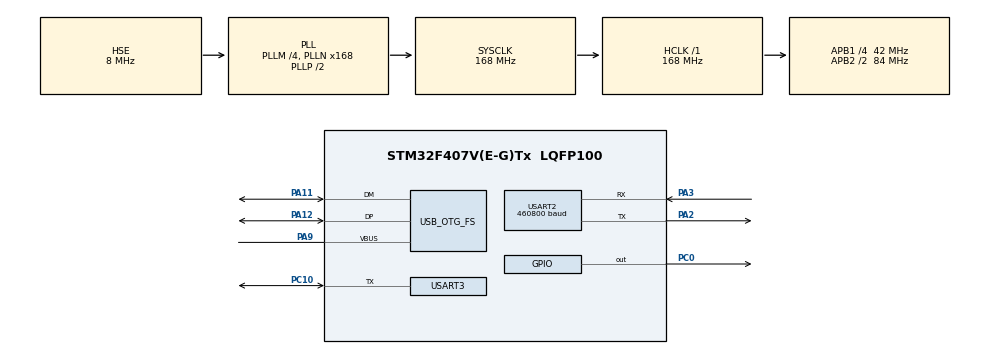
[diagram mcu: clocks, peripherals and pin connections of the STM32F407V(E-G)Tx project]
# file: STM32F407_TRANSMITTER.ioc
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Mcu.Family=STM32F4
Mcu.Name=STM32F407V(E-G)Tx
Mcu.Package=LQFP100
NVIC.OTG_FS_IRQn=true\:0\:0\:false\:false\:true\:false\:true\:true
NVIC.PriorityGroup=NVIC_PRIORITYGROUP_4
NVIC.USART3_IRQn=true\:0\:0\:false\:false\:true\:true\:true\:true
PA11.Mode=Host_Only
PA11.Signal=USB_OTG_FS_DM
PA12.Mode=Host_Only
PA12.Signal=USB_OTG_FS_DP
PA2.Mode=Asynchronous
PA2.Signal=USART2_TX
PA3.Mode=Asynchronous
PA3.Signal=USART2_RX
PA9.Mode=Activate_VBUS
PA9.Signal=USB_OTG_FS_VBUS
PC0.Signal=GPIO_Output
PC10.GPIO_ModeDefaultOD=GPIO_MODE_AF_OD
PC10.GPIO_PuPd=GPIO_NOPULL
PC10.Mode=Half_duplex(single_wire_mode)
PC10.Signal=USART3_TX
PC11.Signal=USART3_RX
PH0-OSC_IN.Mode=HSE-External-Oscillator
PH0-OSC_IN.Signal=RCC_OSC_IN
PH1-OSC_OUT.Mode=HSE-External-Oscillator
PH1-OSC_OUT.Signal=RCC_OSC_OUT
ProjectManager.HeapSize=0x200
ProjectManager.StackSize=0x400
ProjectManager.TargetToolchain=STM32CubeIDE
RCC.48MHZClocksFreq_Value=48000000
RCC.AHBFreq_Value=168000000
RCC.APB1CLKDivider=RCC_HCLK_DIV4
RCC.APB1Freq_Value=42000000
RCC.APB1TimFreq_Value=84000000
RCC.APB2CLKDivider=RCC_HCLK_DIV2
RCC.APB2Freq_Value=84000000
RCC.APB2TimFreq_Value=168000000
RCC.CortexFreq_Value=168000000
RCC.HCLKFreq_Value=168000000
RCC.HSE_VALUE=8000000
RCC.HSI_VALUE=16000000
RCC.LSE_VALUE=32768
RCC.PLLM=4
RCC.PLLN=168
RCC.PLLQ=7
RCC.SYSCLKFreq_VALUE=168000000
RCC.SYSCLKSource=RCC_SYSCLKSOURCE_PLLCLK
RCC.VCOOutputFreq_Value=336000000
USART2.BaudRate=460800
USART2.Mode=MODE_TX_RX
USART2.VirtualMode=VM_ASYNC
USART3.BaudRate=420000
USART3.Mode=MODE_TX_RX
USART3.VirtualMode=VM_ASYNC
USB_HOST.BSP.number=1
USB_HOST.USBH_HandleTypeDef-HID_FS=hUsbHostFS
USB_HOST.VirtualModeFS=Hid
USB_HOST0.BSP.STBoard=false
USB_HOST0.BSP.api=Unknown
USB_HOST0.BSP.condition=SW_VBUS_DRIVE_HID_FS \= false
USB_HOST0.BSP.instance=PC0
USB_HOST0.BSP.ip=GPIO
USB_HOST0.BSP.mode=Output
USB_HOST0.BSP.name=Drive_VBUS_FS
USB_HOST0.BSP.solution=PC0
USB_OTG_FS.VirtualMode=Host_Only
USB_OTG_FS.phy_itface=HCD_PHY_EMBEDDED
VP_USB_HOST_VS_USB_HOST_HID_FS.Mode=HID_FS
board=custom

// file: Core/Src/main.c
/* USER CODE BEGIN Header */
/**
  ******************************************************************************
  * @file           : main.c
  * @brief          : Main program body
  ******************************************************************************
  * @attention
  *
  * Copyright (c) 2026 STMicroelectronics.
  * All rights reserved.
  *
  * This software is licensed under terms that can be found in the LICENSE file
  * in the root directory of this software component.
  * If no LICENSE file comes with this software, it is provided AS-IS.
  *
  ******************************************************************************
  */
/* USER CODE END Header */
#include "main.h"
#include "usart.h"
#include "usb_host.h"
#include "gpio.h"

/* USER CODE BEGIN Includes */
#include "uart_ring.h"  // Ring buffer API: UART_Ring_Init(), UART_Ring_GetByte()
#include "crsf.h"
#include "usbh_hid.h"
#include "usbh_hid_joystick.h"

#include <stdio.h>  // snprintf

/* USER CODE END Includes */

/* USER CODE BEGIN PD */
// Sendezyklus für RC-Frames: 4 ms
#define CRSF_RC_PERIOD_MS   (4U)
// 1-Hz Debugausgabe
#define STATUS_PERIOD_MS    (1000U)

/* USER CODE END PD */

/* USER CODE BEGIN PV */
static CRSF_Parser_t gCrsf;      // Parser-Instanz

// Global buffer for processed joystick data
volatile JoystickData_t g_joystickData;

/* USER CODE END PV */

void SystemClock_Config(void);
void MX_USB_HOST_Process(void);

/* USER CODE BEGIN 0 */
static inline uint32_t app_millis(void) { return HAL_GetTick(); }

void USBH_HID_EventCallback(USBH_HandleTypeDef *phost) {
    HID_HandleTypeDef *HID_Handle = (HID_HandleTypeDef *)phost->pActiveClass->pData;
    uint8_t *current = HID_Handle->pData;

    // Only process new reports (compare first 8 bytes)
    static uint8_t last_report[JOYSTICK_REPORT_EFFECTIVE_SIZE];

    if (memcmp(current, last_report, JOYSTICK_REPORT_EFFECTIVE_SIZE) != 0) {
        memcpy(last_report, current, JOYSTICK_REPORT_EFFECTIVE_SIZE);

        JoystickData_t data = USBH_HID_GetJoystickData(current);

        // Atomically update the global buffer
        __disable_irq();
        g_joystickData = data;
        __enable_irq();
    }
}

static inline uint16_t axis16_to_us(uint16_t raw)
{
  int32_t v = (int32_t)raw - 32768;         // signed Offset um Center
  // Skaliere auf ±500µs um 1500 µs (linear, integer)
  int32_t us = 1500 + (v * 1000) / 65535;   // ≈ 1500 ±500
  if (us < 1000) us = 1000;
  if (us > 2000) us = 2000;
  return (uint16_t)us;
}

/* USER CODE END 0 */

int main(void)
{

  /* USER CODE BEGIN 1 */
	uint8_t b;

	uint8_t  ls_seen_flag = 0;

  /* USER CODE END 1 */

  /* MCU Configuration--------------------------------------------------------*/

  /* Reset of all peripherals, Initializes the Flash interface and the Systick. */
  HAL_Init();

  /* Configure the system clock */
  SystemClock_Config();

  /* Initialize all configured peripherals */
  MX_GPIO_Init();
  MX_USART2_UART_Init();
  MX_USART3_UART_Init();
  MX_USB_HOST_Init();
  /* USER CODE BEGIN 2 */
  HAL_GPIO_WritePin(GPIOC, GPIO_PIN_0, GPIO_PIN_RESET);

  // Ringbuffer für USART3 initialisieren & RX-Interrupt aktivieren
  UART_Ring_Init(&huart3);
  __HAL_UART_ENABLE_IT(&huart3, UART_IT_RXNE);  // RX interrupt aktivieren

  // CRSF-Parser initialisieren (Zeit-Callback für LinkIsAlive etc.)
  CRSF_ParserInit(&gCrsf, app_millis);

  // Start im RX-Betrieb (Halbduplex)
  HAL_HalfDuplex_EnableReceiver(&huart3);

  uint32_t lastFrame      = 0;    // für 250 Hz
  uint32_t last_ls_print  = 0;
  uint32_t last_gps_print = 0;

  // Arbeitsbuffer für TX
  uint8_t payload[22];
  uint8_t frame[32];

  /* USER CODE END 2 */

  /* Infinite loop */
  /* USER CODE BEGIN WHILE */
  while (1)
  {
	  uint32_t now = HAL_GetTick();

	  /* --- 1) RC-Frame alle 4 ms senden (250 Hz) ---------------------------- */
	  if (now - lastFrame >= CRSF_RC_PERIOD_MS) {
	      lastFrame = now;

	      // a) Joystick -> RC-us
	      JoystickData_t js;
	      __disable_irq();
	      js = g_joystickData;  // Atomare Kopie (ISR-sicher)
	      __enable_irq();

	      uint16_t rc_us[16];
	      rc_us[0] = axis16_to_us(js.x);  // CH1: X
	      rc_us[1] = axis16_to_us(js.y);  // CH2: Y
	      for (int i = 2; i < 16; i++) rc_us[i] = 1500;  // Platzhalter

	      // b) us -> CRSF-Ticks & 22-Byte-Payload packen
	      uint16_t ticks[16];
	      for (int i = 0; i < 16; i++) ticks[i] = CRSF_UsToTicks(rc_us[i]);
	      CRSF_PackChannels16x11(ticks, payload);

	      // c) Kompletten Frame bauen
	      uint16_t flen = CRSF_CreateFrame(frame, CRSF_FRAMETYPE_RC_CHANNELS_PACKED, payload, 22);

	      // c) Senden im Half-Duplex
	      HAL_HalfDuplex_EnableTransmitter(&huart3);
	      HAL_UART_Transmit(&huart3, frame, flen, 2);

	      // WICHTIG: Auf TC warten (inkl. Stop-Bit), erst dann auf RX schalten
	      while (__HAL_UART_GET_FLAG(&huart3, UART_FLAG_TC) == RESET) { /* warten */ }
	      HAL_HalfDuplex_EnableReceiver(&huart3);
	      // Ab hier sammelt die ISR (UART_Ring_IRQ_Handler) eingehende Bytes
	  }

	  /* --- 2) Eingehende Bytes -> Parser (Ringbuffer leeren) ---------------- */
	  while (UART_Ring_GetByte(&b)) {
		  uint8_t ftype;
		  if (CRSF_ParserFeed(&gCrsf, b, &ftype)) {
			  if (ftype == CRSF_FRAMETYPE_LINK_STATISTICS) {
				  ls_seen_flag = 1;   // Signal, dass neue Link-Stats angekommen sind
	          }
	      }
	  }

	  if (now - last_ls_print >= 1000U) {
		  last_ls_print = now;

		  if (ls_seen_flag) {
			  ls_seen_flag = 0;  // zurücksetzen, damit wir nur einmal pro Sekunde drucken

			  // Wir lesen die LQ direkt aus dem Parserzustand:
			  uint8_t up   = gCrsf.linkStats.up_LQ;
			  uint8_t dn   = gCrsf.linkStats.dn_LQ;
			  uint8_t pidx = gCrsf.linkStats.up_tx_power;

			  char line[80];
			  int n = snprintf(line, sizeof(line),
					  "Link Quality: up=%u%%, down=%u%%, up_tx_power(idx)=%u\r\n", up, dn, pidx);

			  if (n > 0) {
				  uint16_t len = (n < (int)sizeof(line)) ? (uint16_t)n : (uint16_t)(sizeof(line)-1);
				  HAL_UART_Transmit(&huart2, (uint8_t*)line, len, 20);
			  }
		  } else {
			  const char no[] = "No Link Statistics in last second\r\n";
			  HAL_UART_Transmit(&huart2, (uint8_t*)no, sizeof(no) - 1, 20);
		  }
	  }

	  if (now - last_gps_print >= 1000U) {
		  last_gps_print = now;

		  // Einfache Plausibilitätsprüfung:
		  if (gCrsf.gps.latitude != 0 || gCrsf.gps.longitude != 0) {
			  char line[128];
			  //int alt_m = (int)gCrsf.gps.altitude - 1000; // Offset -1000m zurückrechnen
			  int n = snprintf(line, sizeof(line),
			      "GPS RAW: lat=%ld lon=%ld gs=%u hdg=%u alt=%u sats=%u\r\n",
			      (long)gCrsf.gps.latitude,
			      (long)gCrsf.gps.longitude,
			      (unsigned)gCrsf.gps.groundspeed,
			      (unsigned)gCrsf.gps.heading,
			      (unsigned)gCrsf.gps.altitude,
			      (unsigned)gCrsf.gps.satellites
			  );

			  if (n > 0) {
				  uint16_t txlen = (n < (int)sizeof(line)) ? (uint16_t)n : (uint16_t)(sizeof(line)-1);
				  HAL_UART_Transmit(&huart2, (uint8_t*)line, txlen, 20);
			  }
		  }
	  }

    /* USER CODE END WHILE */
    MX_USB_HOST_Process();

  }
}

void SystemClock_Config(void)
{
  RCC_OscInitTypeDef RCC_OscInitStruct = {0};
  RCC_ClkInitTypeDef RCC_ClkInitStruct = {0};

  /** Configure the main internal regulator output voltage
  */
  __HAL_RCC_PWR_CLK_ENABLE();
  __HAL_PWR_VOLTAGESCALING_CONFIG(PWR_REGULATOR_VOLTAGE_SCALE1);

  /** Initializes the RCC Oscillators according to the specified parameters
  * in the RCC_OscInitTypeDef structure.
  */
  RCC_OscInitStruct.OscillatorType = RCC_OSCILLATORTYPE_HSE;
  RCC_OscInitStruct.HSEState = RCC_HSE_ON;
  RCC_OscInitStruct.PLL.PLLState = RCC_PLL_ON;
  RCC_OscInitStruct.PLL.PLLSource = RCC_PLLSOURCE_HSE;
  RCC_OscInitStruct.PLL.PLLM = 4;
  RCC_OscInitStruct.PLL.PLLN = 168;
  RCC_OscInitStruct.PLL.PLLP = RCC_PLLP_DIV2;
  RCC_OscInitStruct.PLL.PLLQ = 7;
  if (HAL_RCC_OscConfig(&RCC_OscInitStruct) != HAL_OK)
  {
    Error_Handler();
  }

  /** Initializes the CPU, AHB and APB buses clocks
  */
  RCC_ClkInitStruct.ClockType = RCC_CLOCKTYPE_HCLK|RCC_CLOCKTYPE_SYSCLK
                              |RCC_CLOCKTYPE_PCLK1|RCC_CLOCKTYPE_PCLK2;
  RCC_ClkInitStruct.SYSCLKSource = RCC_SYSCLKSOURCE_PLLCLK;
  RCC_ClkInitStruct.AHBCLKDivider = RCC_SYSCLK_DIV1;
  RCC_ClkInitStruct.APB1CLKDivider = RCC_HCLK_DIV4;
  RCC_ClkInitStruct.APB2CLKDivider = RCC_HCLK_DIV2;

  if (HAL_RCC_ClockConfig(&RCC_ClkInitStruct, FLASH_LATENCY_5) != HAL_OK)
  {
    Error_Handler();
  }
}

void Error_Handler(void)
{
  __disable_irq();
  while (1)
  {
  }
}
